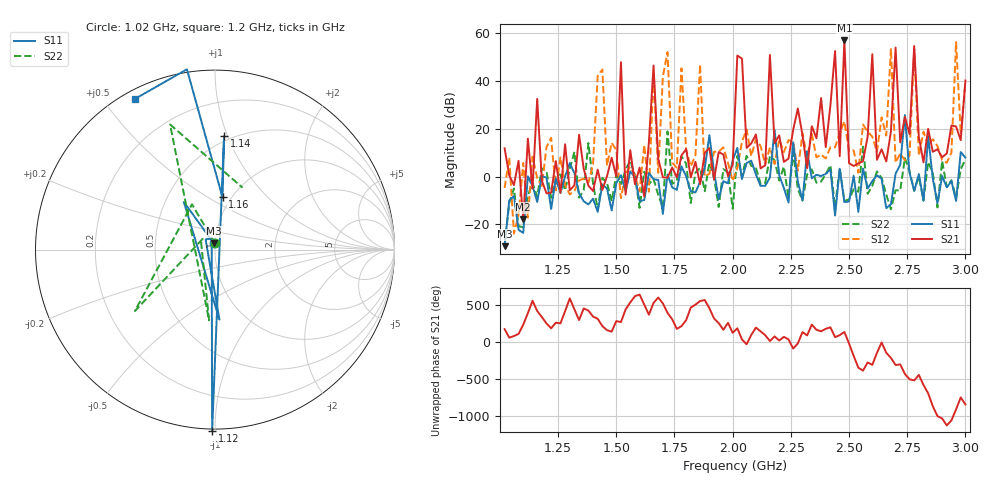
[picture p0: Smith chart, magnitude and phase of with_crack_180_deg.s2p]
# MHz S MA R 50
!  freq  S11  S21  S12  S22
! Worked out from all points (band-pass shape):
!   100 points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, 1.02 GHz to 3 GHz, reference 50 ohm
!   highest |S21| = 57.03 dB at 2.48 GHz (marker M1); lowest = -17.9 dB at 1.1 GHz (marker M2)
!   |S21| within 3 dB of the highest: 2.478763 GHz to 2.481166 GHz (2.403 MHz wide, 0.0969 % of centre); 2.699994 GHz to 2.700006 GHz (12.08 kHz wide, 0.000447 % of centre) (the widest 2 of 3)
!   lowest |S11| = -29.2 dB at 1.02 GHz (marker M3), VSWR 1.07, Z = 49.3 + j3.38 ohm
!   |S11| at or under -10 dB: 1.063 GHz to 1.111 GHz (48.88 MHz wide, 4.5 % of centre); 1.358 GHz to 1.394 GHz (35.9 MHz wide, 2.61 % of centre); 2.479 GHz to 2.501 GHz (21.75 MHz wide, 0.873 % of centre) (the widest 3 of 18)
!   |S22| runs from -28.7 to 18.9 dB; largest |S21 - S12| = 7e+02
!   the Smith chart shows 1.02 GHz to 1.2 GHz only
!   S11 on the Smith chart (normalised r, x): 1.02 GHz: 0.99, +0.07; 1.12 GHz: -0.01, -0.98; 1.14 GHz: 0.46, +0.97; 1.16 GHz: 0.91, +0.58; 1.2 GHz: 0.03, +0.60
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1020  0.03484 100.3  3.905 171.8  0.5784 166.6  0.03687 92.4
1100  0.06598 106.2  0.127 -127.8  1.932 -84.6  0.08697 152.7
1120  1.01 -90.9  6.228 27.9  0.1385 165.0  0.3954 -94.8
1140  0.6342 85.4  0.556 -165.4  2.61 -156.8  0.7407 109.7
1160  0.2943 81.8  42.38 57.0  0.936 180.0  0.3776 66.1
1200  0.9507 117.9  0.4444 -111.2  4.168 131.7  1.292 87.9
1360  0.3044 -102.2  1.447 90.8  0.9004 -166.8  0.518 -152.1
1680  0.8523 68.0  2.38 -122.2  1.193 -124.7  0.4128 36.7
2020  3.994 -108.4  343.2 -177.0  1.497 -66.9  2.717 178.4
2040  0.8895 80.5  294.9 32.1  5.41 63.6  0.9842 61.8
2340  0.9178 62.9  11.32 -127.3  7.892 -88.3  1.412 73.9
2440  0.1528 -82.0  426.8 63.6  4.1 154.8  0.2277 -60.1
2460  1.456 106.2  2.667 90.7  8.281 106.6  1.528 116.4
2480  0.2927 -122.7  710.7 133.8  14.25 -168.6  0.3084 -118.7
2500  0.3012 175.7  1.904 -21.9  3.467 -56.9  0.3327 -173.3
2680  0.2615 31.3  8.758 143.4  483.7 76.2  0.2064 5.2
2700  1.149 86.2  503.8 48.4  1.965 99.0  0.5181 97.2
2780  0.5045 127.2  543.4 -159.6  465.6 -133.1  0.5041 127.4
2800  1.129 170.4  6.8 -85.4  2.76 -62.0  0.9934 153.5
2940  0.8025 2.3  11.67 21.2  3.14 -6.5  0.8391 -0.7
2960  0.3093 30.2  11.21 170.0  659.1 98.6  0.3567 40.6
3000  2.502 -72.7  102.9 -123.8  93.07 -98.5  2.257 -71.3
